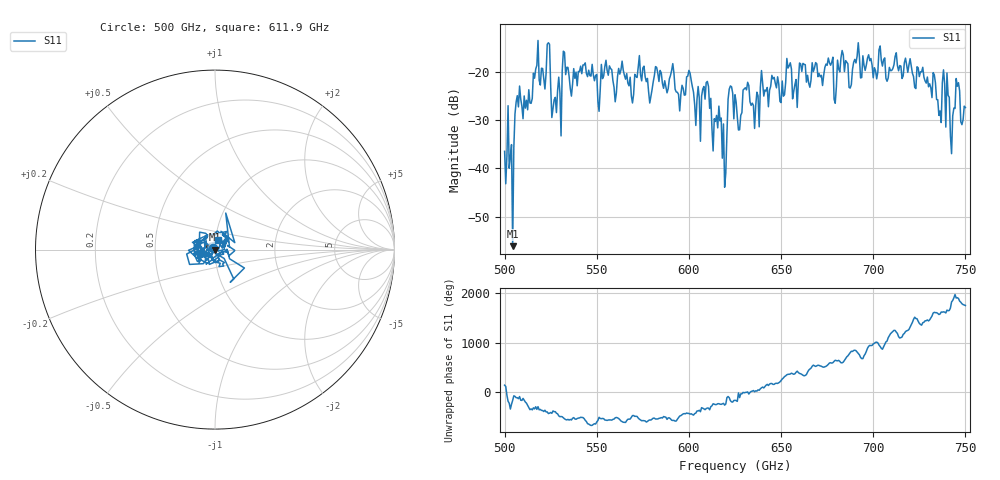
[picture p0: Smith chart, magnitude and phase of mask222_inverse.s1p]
!Created with skrf (http://scikit-rf.org).
# GHz S MA R 50.0
!freq magS11 angS11
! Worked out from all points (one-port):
!   401 points, 500 GHz to 750 GHz, reference 50 ohm
!   lowest |S11| = -56.1 dB at 504.4 GHz (marker M1), VSWR 1.00, Z = 49.9 - j0.0545 ohm
!   |S11| at or under -10 dB: start of sweep to end of sweep
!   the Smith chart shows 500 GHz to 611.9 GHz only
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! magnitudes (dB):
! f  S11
! 500 GHz  -36.5
! 504.4 GHz  -56.1
! 506.9 GHz  -24.9
! 513.8 GHz  -26.4
! 516.9 GHz  -19.4
! 523.8 GHz  -13.9
! 526.9 GHz  -25.8
! 531.2 GHz  -19.8
! 562.5 GHz  -20.4
! 579.4 GHz  -25.0
! 590.6 GHz  -19.7
! 593.8 GHz  -24.2
! 600 GHz  -19.7
! 605 GHz  -23.0
! 609.4 GHz  -22.2
! 619.4 GHz  -43.9
! 622.5 GHz  -22.9
! 625 GHz  -24.7
! 656.2 GHz  -25.6
! 683.8 GHz  -16.5
! 687.5 GHz  -23.3
! 691.2 GHz  -16.7
! 718.8 GHz  -20.1
! 735.6 GHz  -29.0
! 738.8 GHz  -22.5
! 743.1 GHz  -29.1
! 745.6 GHz  -23.0
! 750 GHz  -27.4
